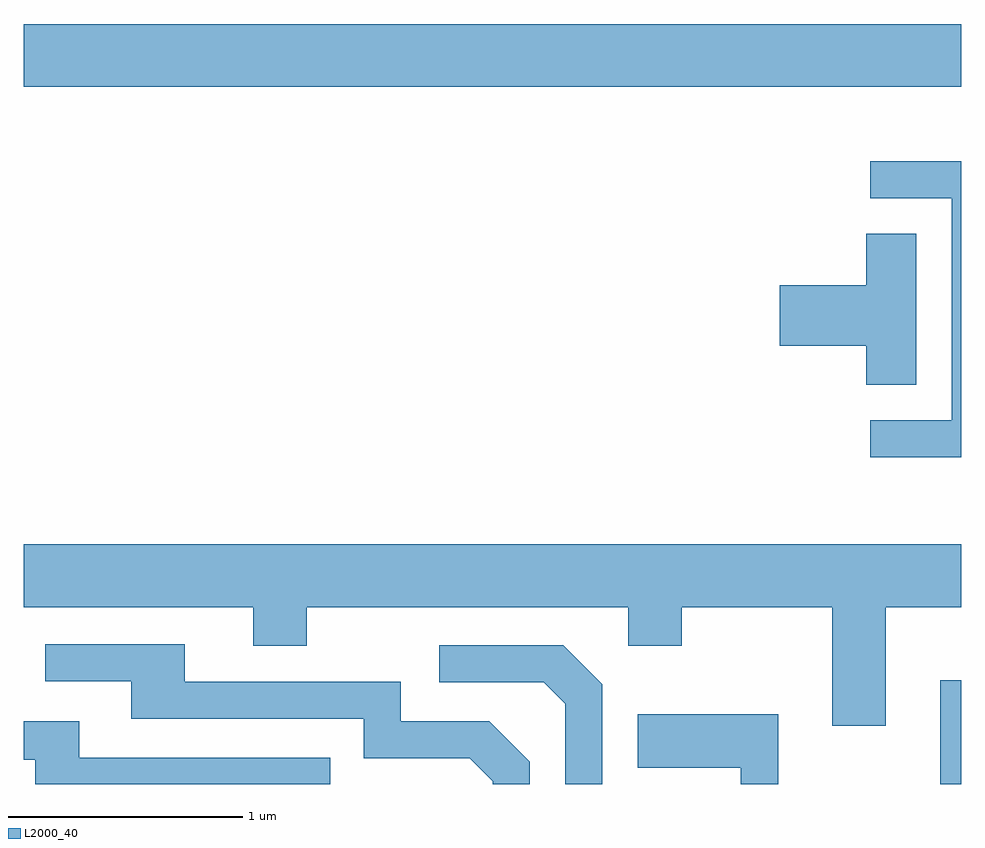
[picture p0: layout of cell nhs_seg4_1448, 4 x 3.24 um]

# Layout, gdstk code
import gdstk
lib = gdstk.Library(unit=1e-6, precision=1e-09)
def R(c, l, rs):  # rectangles x0, y0, x1, y1
    for r in rs: c.add(gdstk.rectangle(r[:2], r[2:], *l))
def P(c, l, *ps):  # polygons
    for p in ps: c.add(gdstk.Polygon(p, *l))
L2000_40 = (2000, 40)

nhs_seg4_1448 = lib.new_cell('nhs_seg4_1448')
R(nhs_seg4_1448, L2000_40, [(231.521,1293.982,231.611,1294.424), (227.611,1296.956,231.611,1297.224)])
P(nhs_seg4_1448, L2000_40, [(231.611,1296.639),(231.223,1296.639),(231.223,1296.481),(231.571,1296.481),(231.571,1295.534),(231.223,1295.534),(231.223,1295.376),(231.611,1295.376)],
  [(231.419,1296.329),(231.206,1296.329),(231.206,1296.109),(230.836,1296.109),(230.836,1295.851),(231.206,1295.851),(231.206,1295.686),(231.419,1295.686)],
  [(231.289,1294.736),(231.611,1294.736),(231.611,1295.004),(227.611,1295.004),(227.611,1294.736),(228.591,1294.736),(228.591,1294.571),(228.819,1294.571),(228.819,1294.736),(230.191,1294.736),(230.191,1294.571),(230.419,1294.571),(230.419,1294.736),(231.061,1294.736),(231.061,1294.231),(231.289,1294.231)],
  [(229.769,1294.077),(229.597,1294.249),(229.219,1294.249),(229.219,1294.419),(228.299,1294.419),(228.299,1294.579),(227.703,1294.579),(227.703,1294.421),(228.071,1294.421),(228.071,1294.261),(229.061,1294.261),(229.061,1294.091),(229.514,1294.091),(229.611,1293.994),(229.611,1293.982),(229.769,1293.982)],
  [(230.079,1294.407),(229.912,1294.574),(229.383,1294.574),(229.383,1294.416),(229.829,1294.416),(229.921,1294.324),(229.921,1293.982),(230.079,1293.982)],
  [(230.829,1294.279),(230.231,1294.279),(230.231,1294.051),(230.671,1294.051),(230.671,1293.982),(230.829,1293.982)],
  [(228.918,1294.094),(227.849,1294.094),(227.849,1294.249),(227.611,1294.249),(227.611,1294.086),(227.661,1294.086),(227.661,1293.982),(228.918,1293.982)])

lib.write_gds('nhs_seg4_1448.gds')
